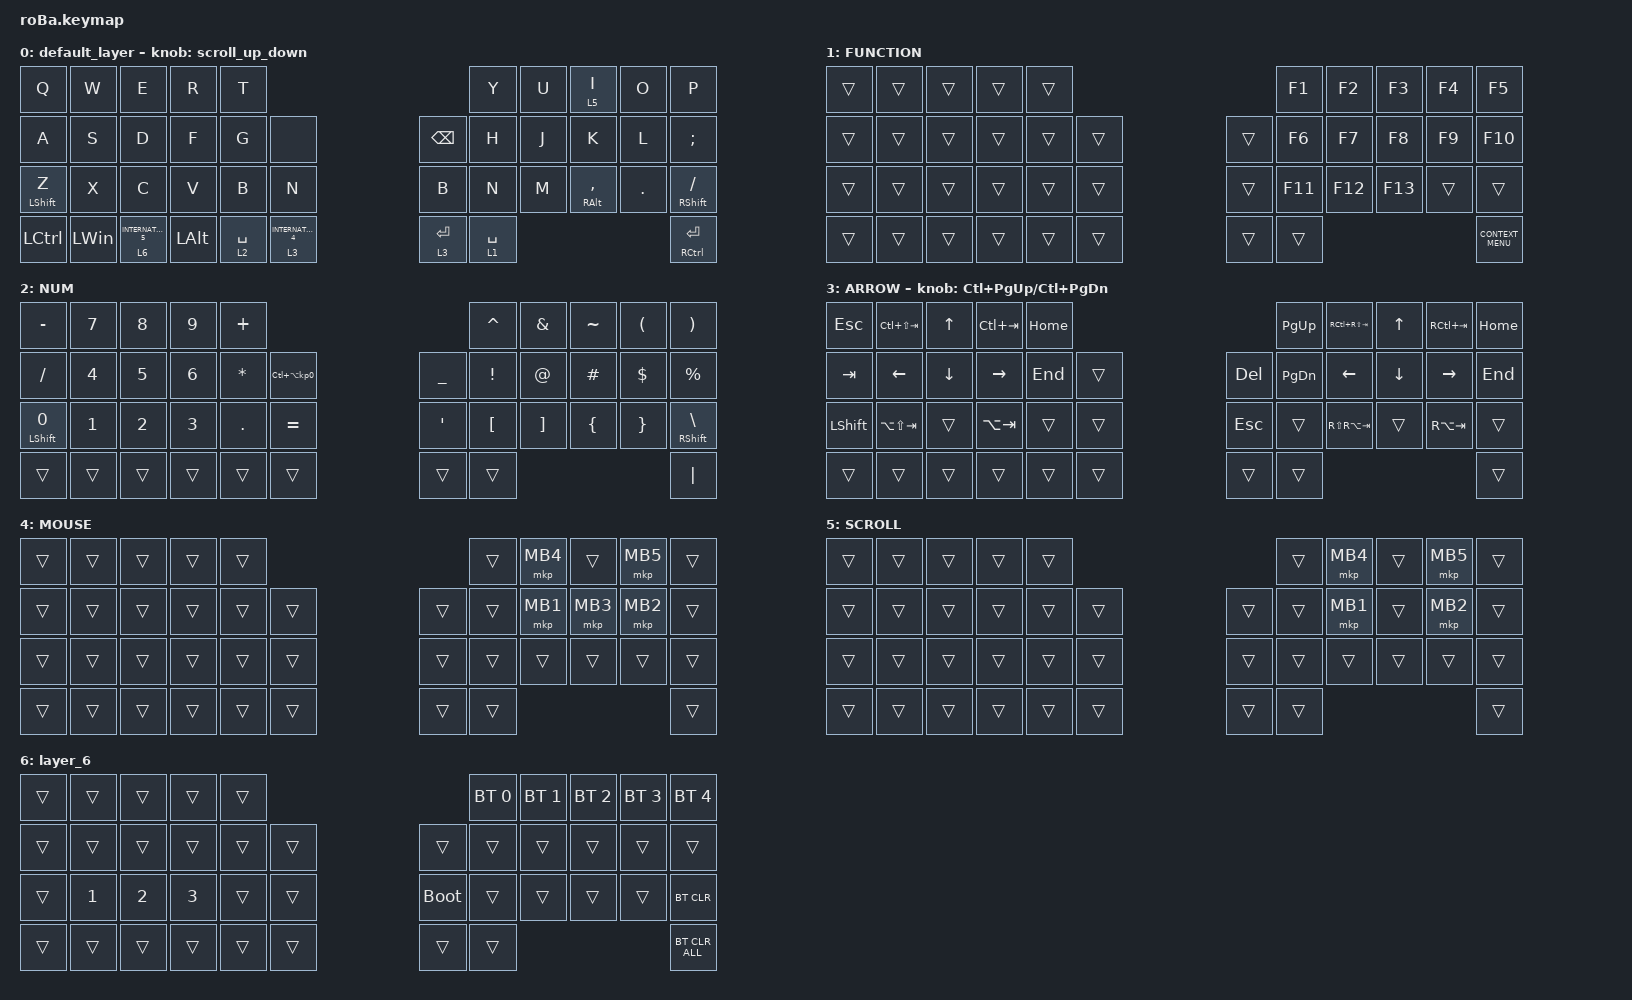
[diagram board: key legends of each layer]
#include <behaviors.dtsi>
#include <dt-bindings/zmk/bt.h>
#include <dt-bindings/zmk/keys.h>
#include <dt-bindings/zmk/pointing.h>

#define ZMK_POINTING_DEFAULT_SCRL_VAL 100
#define MOUSE 4
#define SCROLL 5
#define NUM 6

&mt {
    flavor = "balanced";
    quick-tap-ms = <0>;
};

/ {
    combos {
        compatible = "zmk,combos";

        hyphen {
            bindings = <&kp MINUS>;
            key-positions = <8 9>;
        };

        shift-tab {
            bindings = <&kp LS(TAB)>;
            key-positions = <22 23>;
        };

        tab {
            bindings = <&kp TAB>;
            key-positions = <0 1>;
        };
    };

    macros {
        to_layer_0: to_layer_0 {
            compatible = "zmk,behavior-macro-one-param";
            #binding-cells = <1>;
            bindings = <&to 0 &macro_param_1to1 &kp MACRO_PLACEHOLDER>;
            label = "TO_LAYER_0";
        };
    };

    behaviors {
        lt_to_layer_0: lt_to_layer_0 {
            compatible = "zmk,behavior-hold-tap";
            label = "LAYER_TAP_TO_0";
            bindings = <&mo>, <&to_layer_0>;

            #binding-cells = <2>;
            tapping-term-ms = <200>;
        };

        scroll_up_down: behavior_sensor_rotate_mouse_wheel_up_down {
            compatible = "zmk,behavior-sensor-rotate";
            #sensor-binding-cells = <0>;
            bindings = <&msc SCRL_DOWN>, <&msc SCRL_UP>;

            tap-ms = <20>;
        };
    };

    keymap {
        compatible = "zmk,keymap";

        default_layer {
            bindings = <
&kp Q             &kp W         &kp E                             &kp R         &kp T                                                                      &kp Y        &kp U  &lt 5 I              &kp O    &kp P
&kp A             &kp S         &kp D                             &kp F         &kp G        &none                                 &kp BACKSPACE           &kp H        &kp J  &kp K                &kp L    &kp SEMICOLON
&mt LEFT_SHIFT Z  &kp X         &kp C                             &kp V         &kp B        &kp N                                 &kp B                   &kp N        &kp M  &mt RIGHT_ALT COMMA  &kp DOT  &mt RIGHT_SHIFT SLASH
&kp LCTRL         &kp LEFT_WIN  &lt_to_layer_0 6 INTERNATIONAL_5  &kp LEFT_ALT  &lt 2 SPACE  &lt_to_layer_0 3 INTERNATIONAL_4      &lt_to_layer_0 3 ENTER  &lt 1 SPACE                                       &mt RCTRL ENTER
            >;

            sensor-bindings = <&scroll_up_down>;
        };

        FUNCTION {
            bindings = <
&trans  &trans  &trans  &trans  &trans                      &kp F1   &kp F2   &kp F3   &kp F4  &kp F5
&trans  &trans  &trans  &trans  &trans  &trans      &trans  &kp F6   &kp F7   &kp F8   &kp F9  &kp F10
&trans  &trans  &trans  &trans  &trans  &trans      &trans  &kp F11  &kp F12  &kp F13  &trans  &trans
&trans  &trans  &trans  &trans  &trans  &trans      &trans  &trans                             &kp K_CONTEXT_MENU
            >;
        };

        NUM {
            bindings = <
&kp MINUS                &kp N7        &kp N8        &kp N9        &kp PLUS                                                   &kp CARET         &kp AMPERSAND      &kp TILDE       &kp LEFT_PARENTHESIS  &kp RIGHT_PARENTHESIS
&kp SLASH                &kp NUMBER_4  &kp N5        &kp NUMBER_6  &kp ASTERISK  &kp LC(LA(KP_NUMBER_0))      &kp UNDERSCORE  &kp EXCLAMATION   &kp AT_SIGN        &kp HASH        &kp DOLLAR            &kp PERCENT
&mt LEFT_SHIFT NUMBER_0  &kp NUMBER_1  &kp NUMBER_2  &kp NUMBER_3  &kp PERIOD    &kp EQUAL                    &kp APOS        &kp LEFT_BRACKET  &kp RIGHT_BRACKET  &kp LEFT_BRACE  &kp RIGHT_BRACE       &mt RIGHT_SHIFT BACKSLASH
&trans                   &trans        &trans        &trans        &trans        &trans                       &trans          &trans                                                                     &kp PIPE
            >;
        };

        ARROW {
            bindings = <
&kp ESCAPE      &kp LC(LS(TAB))  &kp UP_ARROW    &kp LC(TAB)      &kp HOME                          &kp PAGE_UP    &kp RC(RS(TAB))  &kp UP_ARROW  &kp RC(TAB)  &kp HOME
&kp TAB         &kp LEFT_ARROW   &kp DOWN_ARROW  &kp RIGHT_ARROW  &kp END   &trans      &kp DEL     &kp PAGE_DOWN  &kp LEFT         &kp DOWN      &kp RIGHT    &kp END
&kp LEFT_SHIFT  &kp LA(LS(TAB))  &trans          &kp LA(TAB)      &trans    &trans      &kp ESCAPE  &trans         &kp RS(RA(TAB))  &trans        &kp RA(TAB)  &trans
&trans          &trans           &trans          &trans           &trans    &trans      &trans      &trans                                                     &trans
            >;

            sensor-bindings = <&inc_dec_kp LC(PAGE_UP) LC(PAGE_DOWN)>;
        };

        MOUSE {
            bindings = <
&trans  &trans  &trans  &trans  &trans                      &trans  &mkp MB4  &trans    &mkp MB5  &trans
&trans  &trans  &trans  &trans  &trans  &trans      &trans  &trans  &mkp MB1  &mkp MB3  &mkp MB2  &trans
&trans  &trans  &trans  &trans  &trans  &trans      &trans  &trans  &trans    &trans    &trans    &trans
&trans  &trans  &trans  &trans  &trans  &trans      &trans  &trans                                &trans
            >;
        };

        SCROLL {
            bindings = <
&trans  &trans  &trans  &trans  &trans                      &trans  &mkp MB4  &trans  &mkp MB5  &trans
&trans  &trans  &trans  &trans  &trans  &trans      &trans  &trans  &mkp MB1  &trans  &mkp MB2  &trans
&trans  &trans  &trans  &trans  &trans  &trans      &trans  &trans  &trans    &trans  &trans    &trans
&trans  &trans  &trans  &trans  &trans  &trans      &trans  &trans                              &trans
            >;
        };

        layer_6 {
            bindings = <
&trans  &trans        &trans        &trans        &trans                           &bt BT_SEL 0  &bt BT_SEL 1  &bt BT_SEL 2  &bt BT_SEL 3  &bt BT_SEL 4
&trans  &trans        &trans        &trans        &trans  &trans      &trans       &trans        &trans        &trans        &trans        &trans
&trans  &kp NUMBER_1  &kp NUMBER_2  &kp NUMBER_3  &trans  &trans      &bootloader  &trans        &trans        &trans        &trans        &bt BT_CLR
&trans  &trans        &trans        &trans        &trans  &trans      &trans       &trans                                                  &bt BT_CLR_ALL
            >;
        };
    };
};
